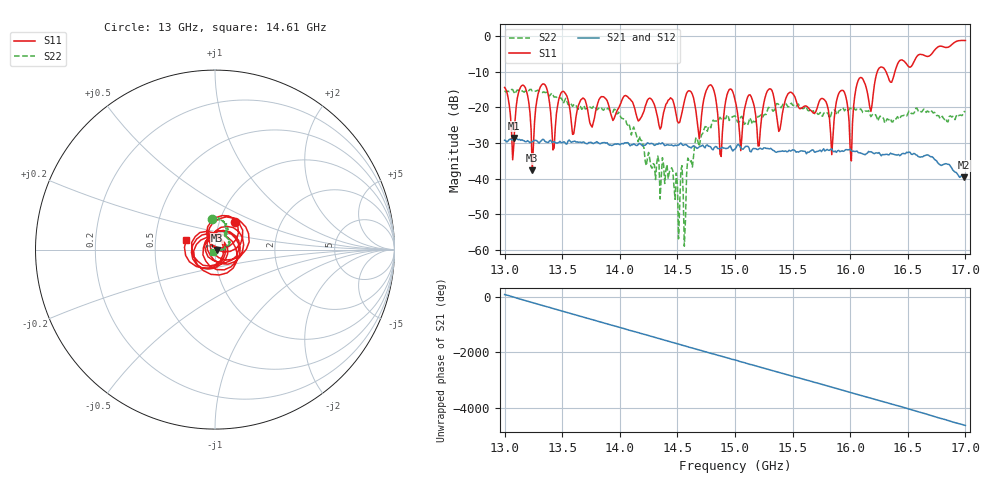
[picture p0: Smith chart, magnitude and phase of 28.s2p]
!Keysight Technologies,P9374A,MY57211807,A.19.30.04
!Date: Friday, May 01, 2026 14:49:45
!Correction: S11(C  2-Port  )
!S21(C  2-Port  )
!S12(C  2-Port  )
!S22(C  2-Port  )
!S2P File: Measurements: S11, S21, S12, S22:
# Hz S  RI  R 50
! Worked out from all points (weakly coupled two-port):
!   401 points, 13 GHz to 17 GHz, reference 50 ohm
!   highest |S21| = -28.57 dB at 13.08 GHz (marker M1); lowest = -39.6 dB at 16.99 GHz (marker M2)
!   lowest |S11| = -37.6 dB at 13.24 GHz (marker M3), VSWR 1.03, Z = 51.3 - j0.203 ohm
!   |S11| at or under -10 dB: start of sweep to 16.24 GHz; 16.31059 GHz to 16.38861 GHz (78.02 MHz wide, 0.477 % of centre)
!   |S22| runs from -58.9 to -15.0 dB; largest |S21 - S12| = 0.0014
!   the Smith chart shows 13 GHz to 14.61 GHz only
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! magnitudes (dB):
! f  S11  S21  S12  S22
! 13 GHz  -14.4  -29.2  -29.3  -15.3
! 13.08 GHz  -30.6  -28.6  -28.6  -15.7
! 13.16 GHz  -13.8  -29.3  -29.3  -15.6
! 13.24 GHz  -37.6  -29.7  -29.6  -15.5
! 13.33 GHz  -13.5  -29.0  -29.0  -15.9
! 13.42 GHz  -31.9  -29.7  -29.7  -16.6
! 13.67 GHz  -17.7  -29.9  -29.8  -20.6
! 14.34 GHz  -25.0  -30.0  -30.0  -35.4
! 14.56 GHz  -18.3  -30.5  -30.5  -58.9
! 14.73 GHz  -17.6  -31.1  -30.9  -26.2
! 14.81 GHz  -14.7  -31.9  -31.7  -23.6
! 14.88 GHz  -33.8  -31.4  -31.4  -23.3
! 15 GHz  -17.9  -31.7  -31.6  -22.4
! 15.05 GHz  -32.1  -31.3  -31.3  -22.7
! 15.67 GHz  -21.2  -31.9  -31.9  -21.1
! 15.84 GHz  -33.2  -31.6  -31.7  -21.4
! 15.93 GHz  -15.2  -32.2  -32.3  -20.1
! 16 GHz  -31.9  -31.7  -31.7  -20.2
! 16.08 GHz  -11.9  -32.8  -32.7  -20.7
! 16.34 GHz  -12.5  -33.3  -33.2  -23.5
! 16.99 GHz  -1.3  -39.6  -39.5  -21.2
! 17 GHz  -1.3  -39.3  -39.4  -21.2
